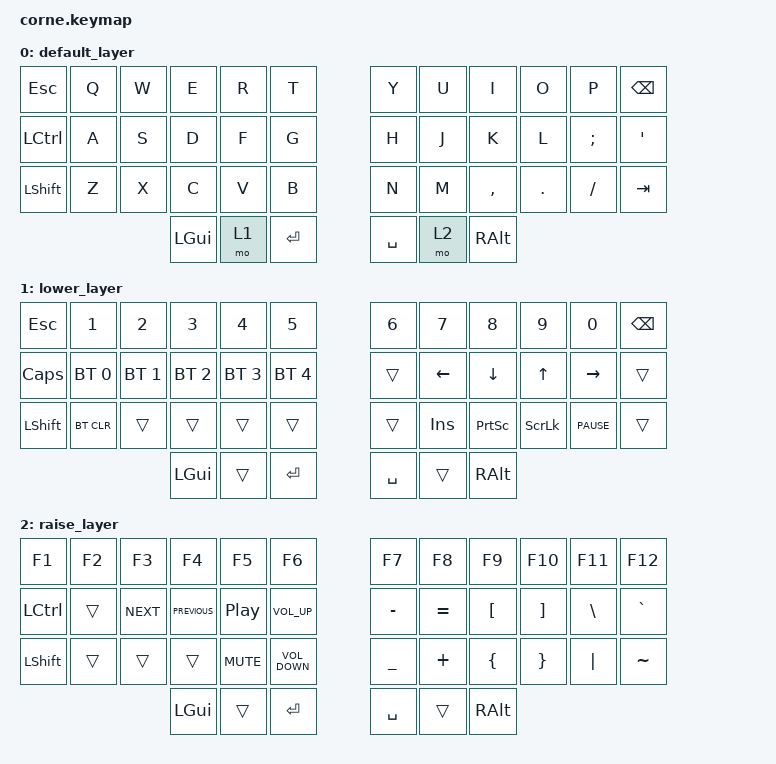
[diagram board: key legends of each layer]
/*
 * Copyright (c) 2020 The ZMK Contributors
 *
 * SPDX-License-Identifier: MIT
 */

#include <behaviors.dtsi>
#include <dt-bindings/zmk/bt.h>
#include <dt-bindings/zmk/keys.h>

/ {
    keymap {
        compatible = "zmk,keymap";

        default_layer {
            // -----------------------------------------------------------------------------------------
            // |  TAB |  Q  |  W  |  E  |  R  |  T  |   |  Y  |  U   |  I  |  O  |  P  | BKSP |
            // | CTRL |  A  |  S  |  D  |  F  |  G  |   |  H  |  J   |  K  |  L  |  ;  |  '   |
            // | SHFT |  Z  |  X  |  C  |  V  |  B  |   |  N  |  M   |  ,  |  .  |  /  | ESC  |
            //                    | GUI | LWR | SPC |   | ENT | RSE  | ALT |

            bindings = <
&kp ESC    &kp Q  &kp W  &kp E     &kp R  &kp T        &kp Y      &kp U  &kp I      &kp O    &kp P     &kp BSPC
&kp LCTRL  &kp A  &kp S  &kp D     &kp F  &kp G        &kp H      &kp J  &kp K      &kp L    &kp SEMI  &kp SQT
&kp LSHFT  &kp Z  &kp X  &kp C     &kp V  &kp B        &kp N      &kp M  &kp COMMA  &kp DOT  &kp FSLH  &kp TAB
                         &kp LGUI  &mo 1  &kp ENTER    &kp SPACE  &mo 2  &kp RALT
            >;
        };

        lower_layer {
            // -----------------------------------------------------------------------------------------
            // |  TAB |  1  |  2  |  3  |  4  |  5  |   |  6  |  7  |  8  |  9  |  0  | BKSP |
            // | BTCLR| BT1 | BT2 | BT3 | BT4 | BT5 |   | LFT | DWN |  UP | RGT |     |      |
            // | SHFT |     |     |     |     |     |   |     |     |     |     |     |      |
            //                    | GUI |     | SPC |   | ENT |     | ALT |

            bindings = <
&kp ESC       &kp N1        &kp N2        &kp N3        &kp N4        &kp N5          &kp N6     &kp N7          &kp N8           &kp N9        &kp N0           &kp BSPC
&kp CAPSLOCK  &bt BT_SEL 0  &bt BT_SEL 1  &bt BT_SEL 2  &bt BT_SEL 3  &bt BT_SEL 4    &trans     &kp LEFT_ARROW  &kp DOWN_ARROW   &kp UP_ARROW  &kp RIGHT_ARROW  &trans
&kp LSHFT     &bt BT_CLR    &trans        &trans        &trans        &trans          &trans     &kp INSERT      &kp PRINTSCREEN  &kp SLCK      &kp C_PAUSE      &trans
                                          &kp LGUI      &trans        &kp ENTER       &kp SPACE  &trans          &kp RALT
            >;
        };

        raise_layer {
            // -----------------------------------------------------------------------------------------
            // |  TAB |  !  |  @  |  #  |  $  |  %  |   |  ^  |  &  |  *  |  (  |  )  | BKSP |
            // | CTRL |     |     |     |     |     |   |  -  |  =  |  [  |  ]  |  \  |  `   |
            // | SHFT |     |     |     |     |     |   |  _  |  +  |  {  |  }  | "|" |  ~   |
            //                    | GUI |     | SPC |   | ENT |     | ALT |

            bindings = <
&kp F1     &kp F2  &kp F3      &kp F4          &kp F5            &kp F6               &kp F7     &kp F8     &kp F9    &kp F10   &kp F11   &kp F12
&kp LCTRL  &trans  &kp C_NEXT  &kp C_PREVIOUS  &kp C_PLAY_PAUSE  &kp C_VOLUME_UP      &kp MINUS  &kp EQUAL  &kp LBKT  &kp RBKT  &kp BSLH  &kp GRAVE
&kp LSHFT  &trans  &trans      &trans          &kp C_MUTE        &kp C_VOLUME_DOWN    &kp UNDER  &kp PLUS   &kp LBRC  &kp RBRC  &kp PIPE  &kp TILDE
                               &kp LGUI        &trans            &kp ENTER            &kp SPACE  &trans     &kp RALT
            >;
        };
    };
};
